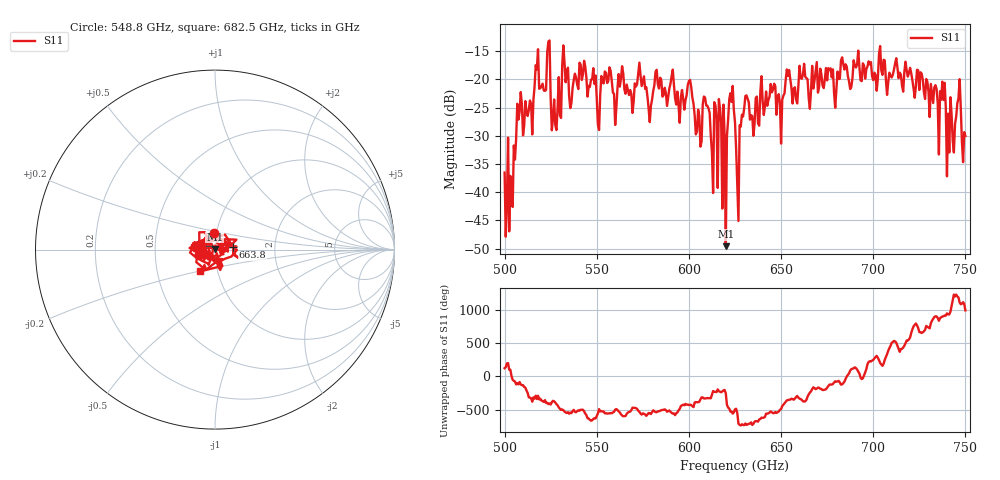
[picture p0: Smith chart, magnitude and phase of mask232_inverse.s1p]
!Created with skrf (http://scikit-rf.org).
# GHz S MA R 50.0
!freq magS11 angS11
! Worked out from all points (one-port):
!   401 points, 500 GHz to 750 GHz, reference 50 ohm
!   lowest |S11| = -49.6 dB at 620 GHz (marker M1), VSWR 1.01, Z = 49.9 + j0.32 ohm
!   |S11| at or under -10 dB: start of sweep to end of sweep
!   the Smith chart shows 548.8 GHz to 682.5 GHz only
!   S11 on the Smith chart (normalised r, x): 548.8 GHz: 0.98, +0.18; 663.8 GHz: 1.23, +0.03; 682.5 GHz: 0.83, -0.20
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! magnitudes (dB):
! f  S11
! 500 GHz  -36.5
! 503.8 GHz  -41.1
! 508.1 GHz  -25.8
! 513.8 GHz  -23.8
! 517.5 GHz  -18.2
! 523.8 GHz  -13.3
! 526.9 GHz  -23.6
! 531.2 GHz  -17.6
! 548.8 GHz  -20.8
! 562.5 GHz  -21.3
! 593.8 GHz  -22.2
! 600.6 GHz  -20.1
! 605 GHz  -25.4
! 609.4 GHz  -24.6
! 620 GHz  -49.6
! 622.5 GHz  -22.5
! 625 GHz  -27.6
! 626.9 GHz  -45.1
! 631.2 GHz  -22.9
! 656.2 GHz  -24.3
! 663.8 GHz  -19.8
! 682.5 GHz  -16.7
! 687.5 GHz  -21.7
! 718.8 GHz  -19.5
! 737.5 GHz  -20.4
! 741.2 GHz  -33.0
! 746.2 GHz  -23.3
! 750 GHz  -30.0
